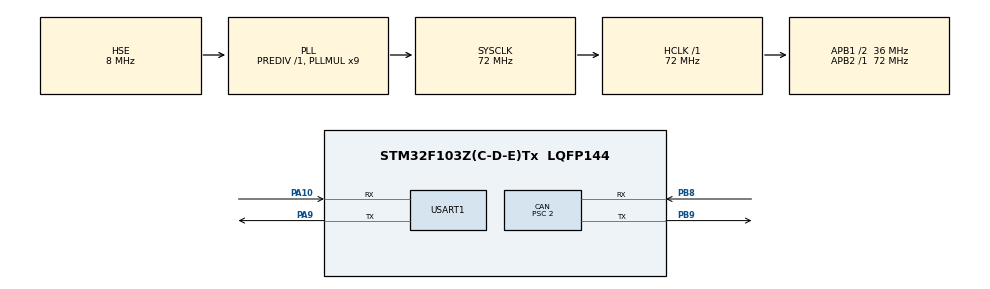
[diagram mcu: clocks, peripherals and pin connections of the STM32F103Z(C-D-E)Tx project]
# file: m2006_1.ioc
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CAN.ABOM=ENABLE
CAN.BS1=CAN_BS1_13TQ
CAN.BS2=CAN_BS2_4TQ
CAN.CalculateBaudRate=1000000
CAN.CalculateTimeBit=1000
CAN.CalculateTimeQuantum=55.55555555555556
CAN.NART=ENABLE
CAN.Prescaler=2
CAN.SJW=CAN_SJW_3TQ
Mcu.Family=STM32F1
Mcu.Name=STM32F103Z(C-D-E)Tx
Mcu.Package=LQFP144
NVIC.CAN1_RX1_IRQn=true\:0\:0\:false\:false\:true\:true\:true\:true
NVIC.PriorityGroup=NVIC_PRIORITYGROUP_4
NVIC.USART1_IRQn=true\:2\:0\:true\:false\:true\:true\:true\:true
NVIC.TIM3_IRQn=true\:1\:0\:true\:false\:true\:true\:true\:true
NVIC.USB_LP_CAN1_RX0_IRQn=true\:2\:0\:true\:false\:true\:true\:true\:true
OSC_IN.Mode=HSE-External-Oscillator
OSC_IN.Signal=RCC_OSC_IN
OSC_OUT.Mode=HSE-External-Oscillator
OSC_OUT.Signal=RCC_OSC_OUT
PA10.Mode=Asynchronous
PA10.Signal=USART1_RX
PB8.Mode=CAN_Activate
PB8.Signal=CAN_RX
PB9.Mode=CAN_Activate
PB9.Signal=CAN_TX
PA13.Mode=Serial_Wire
PA13.Signal=SYS_JTMS-SWDIO
PA14.Mode=Serial_Wire
PA14.Signal=SYS_JTCK-SWCLK
PA9.Mode=Asynchronous
PA9.Signal=USART1_TX
ProjectManager.HeapSize=0x200
ProjectManager.StackSize=0x400
ProjectManager.TargetToolchain=CMake
RCC.AHBFreq_Value=72000000
RCC.APB1CLKDivider=RCC_HCLK_DIV2
RCC.APB1Freq_Value=36000000
RCC.APB1TimFreq_Value=72000000
RCC.APB2Freq_Value=72000000
RCC.APB2TimFreq_Value=72000000
RCC.HCLKFreq_Value=72000000
RCC.PLLMUL=RCC_PLL_MUL9
RCC.PLLSourceVirtual=RCC_PLLSOURCE_HSE
RCC.SYSCLKFreq_VALUE=72000000
RCC.SYSCLKSource=RCC_SYSCLKSOURCE_PLLCLK
RCC.USBFreq_Value=72000000
TIM3.Period=1999
TIM3.Prescaler=71
USART1.VirtualMode=VM_ASYNC
VP_TIM3_VS_ClockSourceINT.Mode=Internal
board=custom

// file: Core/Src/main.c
/* USER CODE BEGIN Header */
/**
  ******************************************************************************
  * @file           : main.c
  * @brief          : Main program body
  ******************************************************************************
  * @attention
  *
  * Copyright (c) 2026 STMicroelectronics.
  * All rights reserved.
  *
  * This software is licensed under terms that can be found in the LICENSE file
  * in the root directory of this software component.
  * If no LICENSE file comes with this software, it is provided AS-IS.
  *
  ******************************************************************************
  */
/* USER CODE END Header */
#include "main.h"
#include "can.h"
#include "tim.h"
#include "usart.h"
#include "gpio.h"

/* USER CODE BEGIN Includes */
#include <stdio.h>
#include "m2006.h"
#include "m2006_ctrl.h"
/* USER CODE END Includes */

/* USER CODE BEGIN PV */
M2006_Bus moto;
/* USER CODE END PV */

void SystemClock_Config(void);

int main(void)
{

  /* MCU Configuration--------------------------------------------------------*/

  /* Reset of all peripherals, Initializes the Flash interface and the Systick. */
  HAL_Init();

  /* Configure the system clock */
  SystemClock_Config();

  /* Initialize all configured peripherals */
  MX_GPIO_Init();
  MX_CAN_Init();
  MX_TIM3_Init();
  MX_USART1_UART_Init();
  /* USER CODE BEGIN 2 */
  setvbuf(stdout, NULL, _IONBF, 0);
  M2006_Init(&moto, &hcan, (M2006_ID_A > M2006_ID_B) ? M2006_ID_A : M2006_ID_B);
  /* M2006_SelfTest();  自检已通过，注释掉避免污染 VOFA 数据流 */
  Ctrl_Init(&moto, M2006_ID_A, M2006_ID_B);
  HAL_TIM_Base_Start_IT(&htim3);      /* 2ms 定时，内部 5 分频 = 10ms 控制 */

  /* USER CODE END 2 */

  /* Infinite loop */
  /* USER CODE BEGIN WHILE */
  uint32_t last = 0;
  while (1)
  {
    Ctrl_Process();                    /* 解析 VOFA 下发的命令 */

    if (HAL_GetTick() - last >= 50) {
      last = HAL_GetTick();
      Ctrl_SendData();                 /* 50ms 发一次波形 */
    }
    /* USER CODE END WHILE */

  }
}

void SystemClock_Config(void)
{
  RCC_OscInitTypeDef RCC_OscInitStruct = {0};
  RCC_ClkInitTypeDef RCC_ClkInitStruct = {0};

  /** Initializes the RCC Oscillators according to the specified parameters
  * in the RCC_OscInitTypeDef structure.
  */
  RCC_OscInitStruct.OscillatorType = RCC_OSCILLATORTYPE_HSE;
  RCC_OscInitStruct.HSEState = RCC_HSE_ON;
  RCC_OscInitStruct.HSEPredivValue = RCC_HSE_PREDIV_DIV1;
  RCC_OscInitStruct.HSIState = RCC_HSI_ON;
  RCC_OscInitStruct.PLL.PLLState = RCC_PLL_ON;
  RCC_OscInitStruct.PLL.PLLSource = RCC_PLLSOURCE_HSE;
  RCC_OscInitStruct.PLL.PLLMUL = RCC_PLL_MUL9;
  if (HAL_RCC_OscConfig(&RCC_OscInitStruct) != HAL_OK)
  {
    Error_Handler();
  }

  /** Initializes the CPU, AHB and APB buses clocks
  */
  RCC_ClkInitStruct.ClockType = RCC_CLOCKTYPE_HCLK|RCC_CLOCKTYPE_SYSCLK
                              |RCC_CLOCKTYPE_PCLK1|RCC_CLOCKTYPE_PCLK2;
  RCC_ClkInitStruct.SYSCLKSource = RCC_SYSCLKSOURCE_PLLCLK;
  RCC_ClkInitStruct.AHBCLKDivider = RCC_SYSCLK_DIV1;
  RCC_ClkInitStruct.APB1CLKDivider = RCC_HCLK_DIV2;
  RCC_ClkInitStruct.APB2CLKDivider = RCC_HCLK_DIV1;

  if (HAL_RCC_ClockConfig(&RCC_ClkInitStruct, FLASH_LATENCY_2) != HAL_OK)
  {
    Error_Handler();
  }
}

/* USER CODE BEGIN 4 */
int _write(int file, char *ptr, int len)
{
  (void)file;
  HAL_UART_Transmit(&huart1, (uint8_t *)ptr, len, HAL_MAX_DELAY);
  return len;
}

void HAL_TIM_PeriodElapsedCallback(TIM_HandleTypeDef *htim)
{
  static uint8_t div = 0;

  if (htim->Instance != TIM3) return;

  if (++div >= CTRL_DIV) {       /* 2ms × 5 = 10ms 控制周期 */
    div = 0;
    Ctrl_Task();
  }
}

/* USER CODE END 4 */

void Error_Handler(void)
{
  __disable_irq();
  while (1)
  {
  }
}
